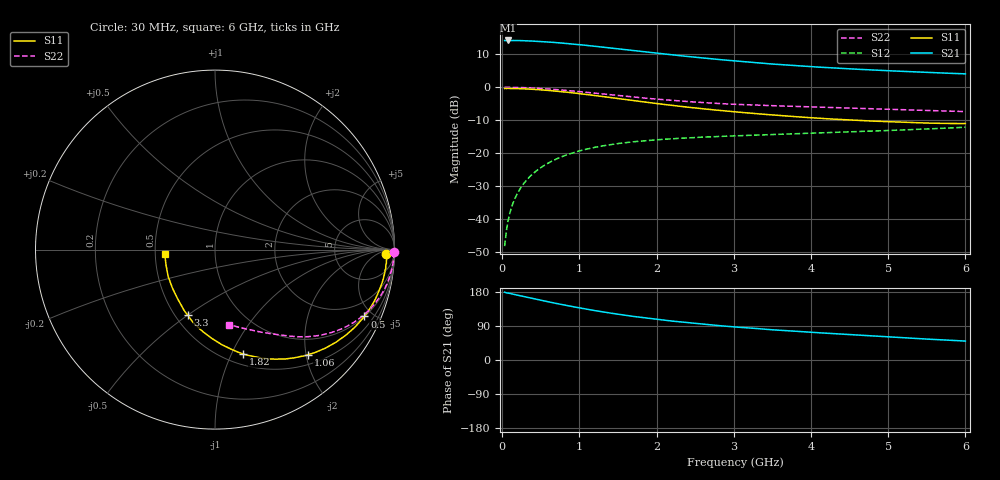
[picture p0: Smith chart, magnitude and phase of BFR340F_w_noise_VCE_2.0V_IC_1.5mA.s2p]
! Infineon Technologies  Discrete & RF Semiconductors
! BFR340F
! VCE =  2.0 V,  IC =  1.5 mA
! Common Emitter S-Parameters:  Nov 2015
# GHz  S  MA  R  50
!  f  S11  S21  S12  S22
! GHz  MAG  ANG  MAG  ANG  MAG  ANG  MAG  ANG
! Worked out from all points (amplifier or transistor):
!   206 points, 30 MHz to 6 GHz, reference 50 ohm
!   highest |S21| = 14.2 dB at 70 MHz (marker M1)
!   |S21| within 3 dB of that: start of sweep to 1.673 GHz
!   unconditionally stable (mu >= 1): 5.085 GHz to end of sweep
!   at 200 MHz: K = 0.05, MSG = 23.1 dB, |S12| = -32.0 dB
!   at 1.56 GHz: K = 0.44, MSG = 14.2 dB, |S12| = -16.9 dB
!   at 6 GHz: K = 1.04, MAG = 6.9 dB, |S12| = -12.1 dB
!   lowest NFmin = 0.73 dB at 450 MHz
!   S11 on the Smith chart (normalised r, x): 30 MHz: 34, -18; 500 MHz: 1.01, -4.47; 1.06 GHz: 0.68, -2.05; 1.82 GHz: 0.61, -1.10; 3.3 GHz: 0.58, -0.50; 6 GHz: 0.56, -0.03
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0.03  0.955 -1.4  5.096 178.9  0.0039 89.3  0.9971 -0.9
0.05  0.9548 -2.3  5.065 177.2  0.0064 88.6  0.9969 -1.7
0.07  0.957 -3.5  5.103 176.5  0.0089 88.4  0.997 -2.3
0.14  0.9542 -6.9  5.098 173.8  0.0177 85.4  0.9941 -4.7
0.22  0.9497 -10.9  5.08 170.1  0.0275 83.2  0.9888 -7.2
0.34  0.9365 -16.6  5.029 164.8  0.0422 79.6  0.9776 -11.1
0.5  0.9119 -24.1  4.916 157.8  0.0606 75.0  0.9553 -16.0
0.64  0.8833 -30.5  4.794 151.7  0.0754 71.1  0.9308 -20.1
0.78  0.8522 -36.7  4.649 145.9  0.0893 67.6  0.9033 -24.0
1.04  0.788 -47.5  4.36 136.1  0.1112 61.5  0.8466 -30.5
1.06  0.7829 -48.3  4.335 135.4  0.1127 61.1  0.8422 -31.0
1.2  0.7473 -53.8  4.17 130.3  0.1228 58.3  0.811 -34.1
1.4  0.6967 -61.2  3.926 123.8  0.1347 54.8  0.7671 -38.1
1.82  0.6013 -75.1  3.453 111.8  0.1534 49.2  0.6878 -44.9
2.02  0.5616 -80.8  3.253 106.9  0.1602 47.2  0.6563 -47.5
2.2  0.5298 -86.1  3.083 102.7  0.1655 45.9  0.6309 -49.7
2.58  0.4731 -96.2  2.781 94.9  0.1747 43.7  0.5861 -53.8
3.1  0.4147 -108.4  2.448 86.0  0.1845 42.2  0.5453 -58.4
3.3  0.3961 -112.5  2.341 83.0  0.1878 42.0  0.5345 -59.8
4.1  0.3383 -129.3  2.013 71.9  0.202 42.3  0.4999 -64.4
5.1  0.2966 -152.7  1.754 59.8  0.2228 43.9  0.4588 -71.7
6  0.2812 -174.5  1.591 50.0  0.2473 45.8  0.427 -79.1
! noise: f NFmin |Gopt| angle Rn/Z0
0.45  0.73  0.76  4  0.5
0.9  0.74  0.73  13  0.54
1.9  1.08  0.59  24  0.46
2.4  1.18  0.55  34  0.44
